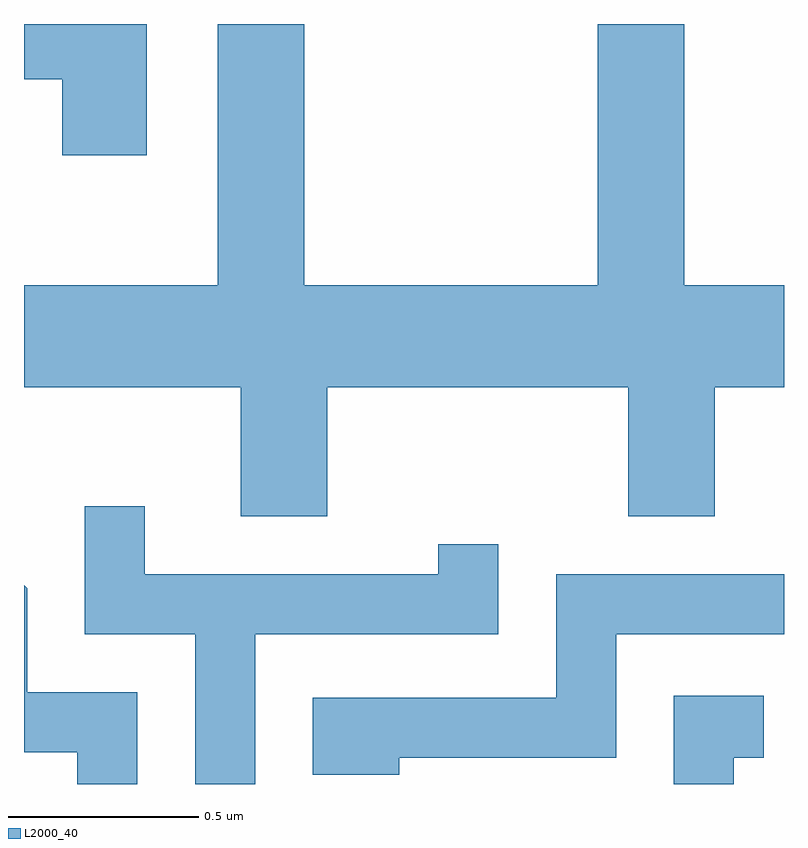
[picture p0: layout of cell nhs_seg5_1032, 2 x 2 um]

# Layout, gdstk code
import gdstk
lib = gdstk.Library(unit=1e-6, precision=1e-09)
def P(c, l, *ps):  # polygons
    for p in ps: c.add(gdstk.Polygon(p, *l))
L2000_40 = (2000, 40)

nhs_seg5_1032 = lib.new_cell('nhs_seg5_1032')
P(nhs_seg5_1032, L2000_40, [(193.409,1470.116),(194.201,1470.116),(194.201,1469.776),(194.429,1469.776),(194.429,1470.116),(194.611,1470.116),(194.611,1470.384),(194.349,1470.384),(194.349,1471.072),(194.121,1471.072),(194.121,1470.384),(193.349,1470.384),(193.349,1471.072),(193.121,1471.072),(193.121,1470.384),(192.611,1470.384),(192.611,1470.116),(193.181,1470.116),(193.181,1469.776),(193.409,1469.776)],
  [(192.934,1471.072),(192.611,1471.072),(192.611,1470.926),(192.711,1470.926),(192.711,1470.726),(192.934,1470.726)],
  [(193.219,1469.466),(193.859,1469.466),(193.859,1469.703),(193.701,1469.703),(193.701,1469.624),(192.929,1469.624),(192.929,1469.803),(192.771,1469.803),(192.771,1469.466),(193.061,1469.466),(193.061,1469.072),(193.219,1469.072)],
  [(193.599,1469.141),(194.169,1469.141),(194.169,1469.466),(194.611,1469.466),(194.611,1469.624),(194.011,1469.624),(194.011,1469.299),(193.371,1469.299),(193.371,1469.096),(193.599,1469.096)],
  [(192.909,1469.314),(192.619,1469.314),(192.619,1469.587),(192.611,1469.595),(192.611,1469.156),(192.751,1469.156),(192.751,1469.072),(192.909,1469.072)],
  [(194.479,1469.141),(194.558,1469.141),(194.558,1469.304),(194.321,1469.304),(194.321,1469.072),(194.479,1469.072)])

lib.write_gds('nhs_seg5_1032.gds')
